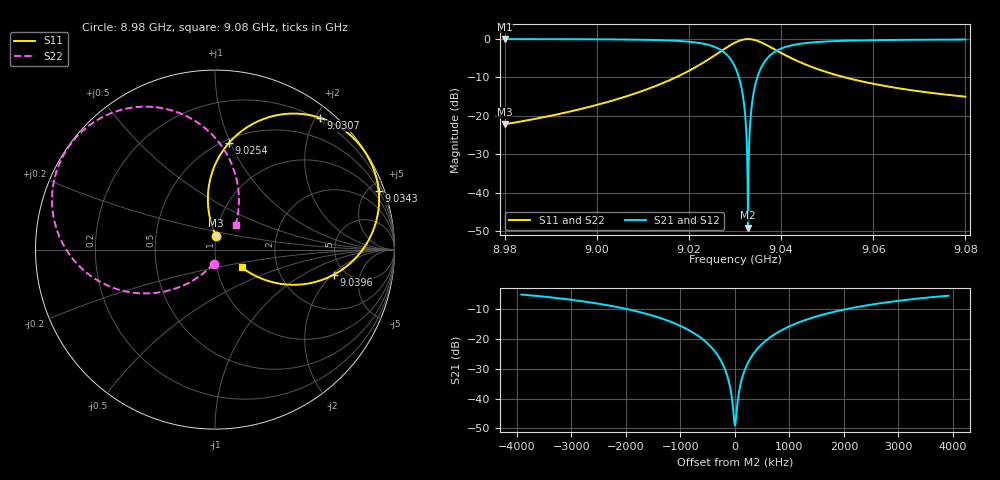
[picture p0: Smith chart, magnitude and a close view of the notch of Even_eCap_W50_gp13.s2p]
! Sonnet Data File
! From: emgraph Version : 16.52
! From Project: Resonator2_extremeCap
! Data is De-embedded
! Data File Written: 10/10/2017 20:29:22
!< HDATE 10/09/2017 23:04:37
!< MDATE 10/09/2017 23:04:37
!< PARAMS
!< Pwid1 = 2000.0
!< Pwid2 = 2000.0
!< Air_gap = 30.0
!< Width = 50.0
!< Gap = 13.0
!< END PARAMS
# GHZ S MA R 51.80000
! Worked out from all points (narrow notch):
!   1594 points, 8.98 GHz to 9.08 GHz, reference 51.8 ohm
!   highest |S21| = -0.03 dB at 8.98 GHz (marker M1); lowest = -49.1 dB at 9.0328 GHz (marker M2)
!   notch at M2: 47.9 dB deep, 664 kHz wide at half that depth
!   lowest |S11| = -22.2 dB at 8.98 GHz (marker M3), VSWR 1.17, Z = 51.7 + j8.08 ohm
!   |S11| at or under -10 dB: start of sweep to 9.017117 GHz; 9.053911 GHz to end of sweep
!   |S22| runs from -22.2 to 0.0 dB; largest |S21 - S12| = 0
!   S11 on the Smith chart (normalised r, x): 8.98 GHz: 1.00, +0.16; 9.0254 GHz: 0.53, +0.99; 9.0307 GHz: 0.17, +2.07; 9.0343 GHz: 0.53, +5.70; 9.0396 GHz: 4.09, -2.10; 9.08 GHz: 1.32, -0.27
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8.98  0.07783 85.9  0.9969 -94.5  0.9969 -94.5  0.07777 -94.9
!< P1 F=8.98 Eeff=(6.44048327 -2.9689e-5) Z0=(50.406422 1.16291e-4) R=0.0 C=0.0
!< P2 F=8.98 Eeff=(6.44048327 -2.9689e-5) Z0=(50.406422 1.16291e-4) R=0.0 C=0.0
8.9967  0.1237 96.0  0.9922 -97.6  0.9922 -97.6  0.1236 -111.3
9.0134  0.2532 98.8  0.9671 -105.6  0.9671 -105.6  0.2531 -130.1
9.0207  0.4061 93.3  0.9131 -115.0  0.9131 -115.0  0.4059 -143.6
9.025388  0.6009 82.5  0.7976 -128.1  0.7976 -128.1  0.6007 -159.0
9.03  0.8973 57.4  0.435 -155.1  0.435 -155.1  0.897 171.6
9.030745  0.9397 51.3  0.3331 -161.3  0.3331 -161.3  0.9394 165.0
9.031689  0.979 43.1  0.1874 -169.5  0.1874 -169.5  0.9786 155.9
9.032298  0.9929 37.5  0.08707 -174.0  0.08707 -174.0  0.9925 149.8
9.032599  0.996 34.7  0.03664 -173.8  0.03664 -173.8  0.9957 146.8
9.032695  0.9964 33.8  0.02067 -170.4  0.02067 -170.4  0.9961 145.8
9.032776  0.9966 33.1  0.007663 -153.8  0.007663 -153.8  0.9963 145.0
9.032814  0.9967 32.8  0.003522 -98.9  0.003522 -98.9  0.9963 144.6
9.033006  0.9962 31.0  0.03189 -9.4  0.03189 -9.4  0.9959 142.7
9.033205  0.9946 29.2  0.06487 -8.1  0.06487 -8.1  0.9943 140.7
9.033601  0.9883 25.6  0.1296 -10.3  0.1296 -10.3  0.988 136.8
9.034273  0.9689 19.7  0.2346 -15.8  0.2346 -15.8  0.9686 130.4
9.0361  0.8786 5.8  0.4724 -30.0  0.4724 -30.0  0.8783 115.0
9.0396  0.6785 -11.8  0.7327 -48.8  0.7327 -48.8  0.6783 94.6
9.0469  0.4272 -26.8  0.9036 -66.3  0.9036 -66.3  0.4271 74.3
9.0634  0.2399 -33.6  0.9707 -78.0  0.9707 -78.0  0.2399 57.6
9.08  0.1777 -33.6  0.984 -82.0  0.984 -82.0  0.1777 49.7
